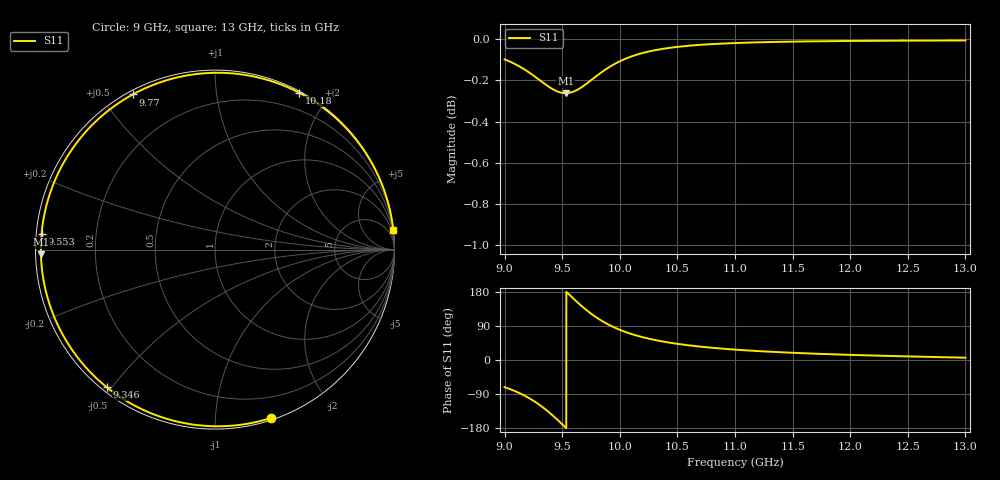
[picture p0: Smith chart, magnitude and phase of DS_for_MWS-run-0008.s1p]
! TOUCHSTONE file generated by CST DESIGN STUDIO
! Date and time: Tue Feb  4 18:02:09 2025
! Project name: C:\Work\MatlabApps\UnitCellOptimizationMatlab\CST\unitcell.cst
! Tree item: Tasks\Sweep1\SPara1\S-Parameters
! Header version: 2024
! Port assignment regex: !\s*Touchstone port\s*([0-9]+)\s*=\s*(CST MWS port|CST DES external port|CST DES block port)\s*(.+)\s* \(\"(.*)\"\)(\s*mode\s*([0-9]+))?.*
! Touchstone port assignment:
! Touchstone port 1 = CST DES external port 1 ("")
# GHz S MA R 50
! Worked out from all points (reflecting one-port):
!   4001 points, 9 GHz to 13 GHz, reference 50 ohm
!   lowest |S11| = -0.3 dB at 9.53 GHz (marker M1), VSWR 66.37, Z = 0.753 - j0.7 ohm
!   phase of S11 starts at -72 deg and turns -282 deg over the sweep
!   S11 on the Smith chart (normalised r, x): 9 GHz: 0.02, -1.39; 9.346 GHz: 0.02, -0.49; 9.553 GHz: 0.02, +0.04; 9.77 GHz: 0.01, +0.60; 10.18 GHz: 0.02, +1.67; 13 GHz: 0, +19
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9  0.9888 -71.7
9.096  0.9861 -82.9
9.203  0.982 -99.0
9.278  0.9787 -113.1
9.346  0.9755 -128.2
9.419  0.9724 -146.8
9.461  0.9712 -158.4
9.5  0.9705 -169.6
9.53  0.9703 -178.4
9.553  0.9704 174.9
9.607  0.9714 159.3
9.668  0.9735 142.5
9.719  0.9758 129.6
9.77  0.9783 117.9
9.819  0.9807 107.9
9.872  0.9831 98.3
9.931  0.9854 88.9
10  0.9878 79.7
10.086  0.9901 70.1
10.179  0.992 61.7
10.326  0.9942 51.5
10.5  0.9958 42.6
10.721  0.997 34.6
11  0.9979 27.4
11.5  0.9987 19.0
12  0.9991 13.5
12.5  0.9993 9.4
13  0.9994 6.1
